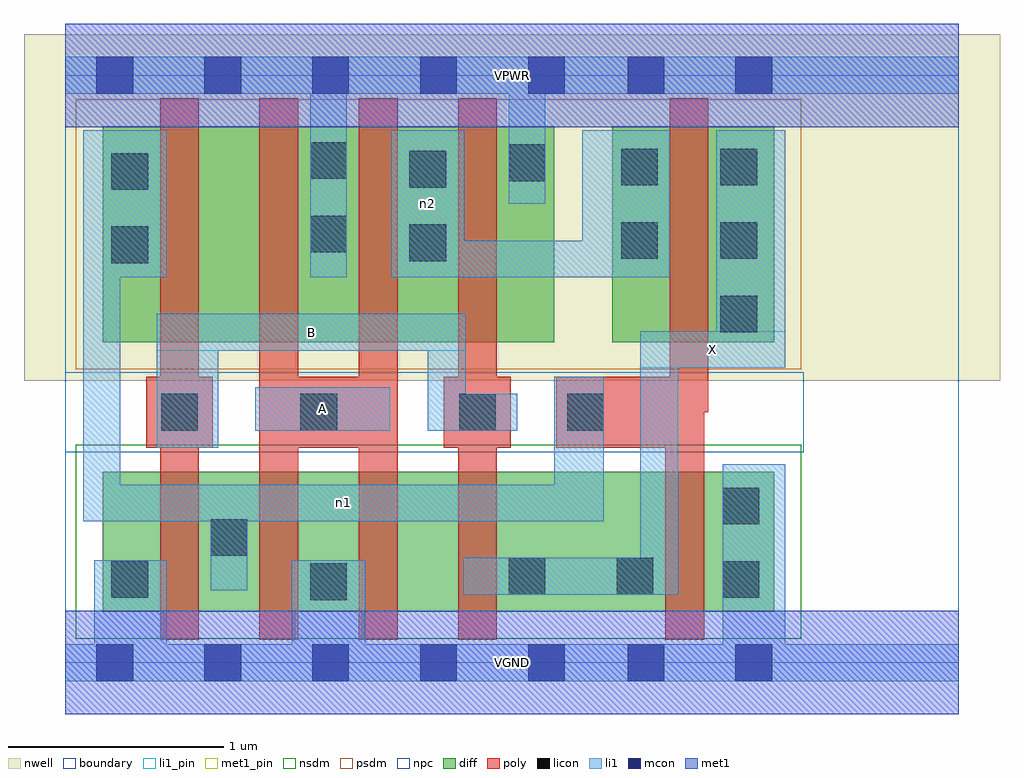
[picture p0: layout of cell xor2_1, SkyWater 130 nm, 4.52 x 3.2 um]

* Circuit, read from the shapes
.subckt xor2_1 A B VGND VPWR X n1 n2
XM1 n1 B VGND VSUBS sky130_fd_pr__nfet_01v8 w=0.65 l=0.18
XM2 VGND A n1 VSUBS sky130_fd_pr__nfet_01v8 w=0.65 l=0.18
XM3 n3 A VGND VSUBS sky130_fd_pr__nfet_01v8 w=0.65 l=0.18
XM4 X B n3 VSUBS sky130_fd_pr__nfet_01v8 w=0.65 l=0.18
XM5 VGND n1 X VSUBS sky130_fd_pr__nfet_01v8 w=0.65 l=0.18
XM6 n4 B n1 n5 sky130_fd_pr__pfet_01v8 w=1 l=0.18
XM7 VPWR A n4 n5 sky130_fd_pr__pfet_01v8 w=1 l=0.18
XM8 n2 A VPWR n5 sky130_fd_pr__pfet_01v8 w=1 l=0.18
XM9 VPWR B n2 n5 sky130_fd_pr__pfet_01v8 w=1 l=0.18
XM10 X n1 n2 n5 sky130_fd_pr__pfet_01v8 w=1 l=0.18
.ends

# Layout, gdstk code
import gdstk
lib = gdstk.Library(unit=1e-6, precision=1e-09)
def R(c, l, rs):  # rectangles x0, y0, x1, y1
    for r in rs: c.add(gdstk.rectangle(r[:2], r[2:], *l))
def A(c, l, x, y, w, h, nx, ny, dx, dy):  # array of equal rectangles
    R(c, l, [(x+i*dx, y+j*dy, x+i*dx+w, y+j*dy+h) for i in range(nx) for j in range(ny)])
nwell = (64, 20)
diff = (65, 20)
poly = (66, 20)
licon = (66, 44)
li1_pin = (67, 16)
li1 = (67, 20)
mcon = (67, 44)
met1_pin = (68, 16)
met1 = (68, 20)
nsdm = (93, 44)
psdm = (94, 20)
npc = (95, 20)
boundary = (235, 4)

xor2_1 = lib.new_cell('xor2_1')
R(xor2_1, nwell, [(-0.19,1.305,4.33,2.91), (0,1.305,4.14,2.91)])
R(xor2_1, diff, [(0.175,0.235,3.285,0.885), (0.175,1.485,2.265,2.485), (2.535,1.485,3.285,2.485)])
A(xor2_1, poly, 0.44, 0.105, 0.18, 2.51, 4, 1, 0.46, 0)
R(xor2_1, poly, [(2.78,0.105,2.96,1.325), (0.375,0.995,0.685,1.325), (0.9,0.995,1.54,1.325), (1.755,0.995,2.065,1.325), (2.275,0.995,2.96,1.325), (2.8,1.16,2.98,2.615)])
A(xor2_1, licon, 3.035, 1.53, 0.17, 0.17, 1, 3, 0, 0.34)
R(xor2_1, licon, [(1.135,0.29,1.305,0.46), (0.215,0.3,0.385,0.47), (3.045,0.3,3.215,0.47), (2.055,0.315,2.225,0.485), (2.555,0.315,2.725,0.485), (0.675,0.495,0.845,0.665), (3.045,0.64,3.215,0.81), (0.445,1.075,0.615,1.245), (1.09,1.075,1.26,1.245), (1.825,1.075,1.995,1.245), (2.325,1.075,2.495,1.245), (0.215,1.85,0.385,2.02), (1.595,1.86,1.765,2.03), (2.575,1.87,2.745,2.04), (1.135,1.9,1.305,2.07), (0.215,2.19,0.385,2.36), (1.595,2.2,1.765,2.37), (2.575,2.21,2.745,2.38), (2.055,2.23,2.225,2.4), (1.135,2.24,1.305,2.41)])
R(xor2_1, li1_pin, [(0.88,1.075,1.505,1.275), (2.665,1.365,3.335,1.535), (0.425,1.445,1.855,1.615)])
R(xor2_1, li1, [(0,-0.085,4.14,0.085), (0.135,-0.085,0.47,0.475), (1.05,-0.085,1.39,0.475), (3.045,-0.085,3.335,0.92), (1.845,0.315,2.84,0.485), (2.665,0.315,2.84,1.535), (0.675,0.335,0.845,0.825), (0.085,0.655,2.495,0.825), (0.085,0.655,0.255,2.465), (2.265,0.655,2.495,1.325), (0.425,0.995,0.71,1.615), (0.88,1.075,1.505,1.275), (1.68,1.075,2.095,1.245), (1.68,1.075,1.855,1.615), (2.665,1.365,3.335,1.535), (3.015,1.365,3.335,2.465), (0.425,1.445,1.855,1.615), (0.085,1.785,0.47,2.465), (1.135,1.785,1.305,2.805), (1.51,1.785,1.85,2.465), (1.51,1.785,2.8,1.955), (2.395,1.785,2.8,2.465), (2.055,2.125,2.225,2.805), (0,2.635,4.14,2.805)])
A(xor2_1, mcon, 0.145, -0.085, 0.17, 0.17, 5, 2, 0.5, 2.72)
R(xor2_1, mcon, [(2.605,-0.085,2.775,0.085), (3.105,-0.085,3.275,0.085), (2.605,2.635,2.775,2.805), (3.105,2.635,3.275,2.805)])
R(xor2_1, met1_pin, [(0,-0.24,4.14,0.24), (0,2.48,4.14,2.96)])
R(xor2_1, met1, [(0,-0.24,4.14,0.24), (0,2.48,4.14,2.96)])
R(xor2_1, nsdm, [(0.05,0.11,3.41,1.01)])
R(xor2_1, psdm, [(0.05,1.36,3.41,2.61)])
R(xor2_1, npc, [(0,0.975,3.42,1.345)])
R(xor2_1, boundary, [(0,0,4.14,2.72)])
xor2_1.add(gdstk.Label('A', (1.192,1.175), layer=67, texttype=5))
xor2_1.add(gdstk.Label('B', (1.14,1.53), layer=67, texttype=5))
xor2_1.add(gdstk.Label('X', (3,1.45), layer=67, texttype=5))
xor2_1.add(gdstk.Label('n1', (1.29,0.74), layer=67, texttype=5))
xor2_1.add(gdstk.Label('n2', (1.68,2.125), layer=67, texttype=5))
xor2_1.add(gdstk.Label('VPWR', (2.07,2.72), layer=68, texttype=5))
xor2_1.add(gdstk.Label('VGND', (2.07,0), layer=68, texttype=5))
xor2_1.add(gdstk.Label('A', (1.192,1.175), layer=67, texttype=16))
xor2_1.add(gdstk.Label('B', (1.14,1.53), layer=67, texttype=16))
xor2_1.add(gdstk.Label('X', (3,1.45), layer=67, texttype=16))
xor2_1.add(gdstk.Label('VPWR', (2.07,2.72), layer=68, texttype=16))
xor2_1.add(gdstk.Label('VGND', (2.07,0), layer=68, texttype=16))

lib.write_gds('xor2_1.gds')
